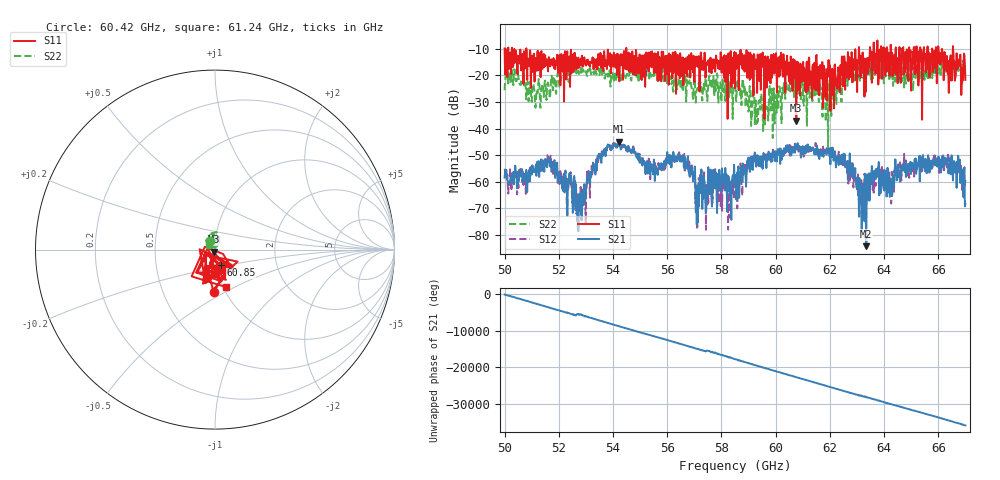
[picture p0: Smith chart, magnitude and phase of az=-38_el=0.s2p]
!Created with skrf (http://scikit-rf.org).
# GHz S RI R 50.0
!freq ReS11 ImS11 ReS21 ImS21 ReS12 ImS12 ReS22 ImS22
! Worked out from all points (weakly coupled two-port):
!   1001 points, 50 GHz to 67 GHz, reference 50 ohm
!   highest |S21| = -44.90 dB at 54.23 GHz (marker M1); lowest = -84.2 dB at 63.34 GHz (marker M2)
!   lowest |S11| = -37.1 dB at 60.76 GHz (marker M3), VSWR 1.03, Z = 49.2 - j1.16 ohm
!   |S11| at or under -10 dB: 50.8 GHz to 54.49 GHz (3.685 GHz wide, 7 % of centre); 54.49 GHz to 63.07 GHz (8.582 GHz wide, 14.6 % of centre); 66.01 GHz to 66.54 GHz (531.8 MHz wide, 0.803 % of centre) (the widest 3 of 28)
!   |S22| runs from -48.5 to -14.1 dB; largest |S21 - S12| = 0.0032
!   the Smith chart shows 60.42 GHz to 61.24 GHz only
!   S11 on the Smith chart (normalised r, x): 60.42 GHz: 0.88, -0.44; 60.85 GHz: 1.05, -0.18; 61.24 GHz: 1.03, -0.45
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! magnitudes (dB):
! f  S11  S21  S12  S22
! 50 GHz  -9.9  -58.4  -55.1  -25.6
! 51.58 GHz  -14.2  -51.6  -50.0  -22.9
! 52.84 GHz  -13.5  -74.4  -71.7  -19.7
! 53.45 GHz  -12.0  -51.3  -53.2  -17.1
! 54.23 GHz  -22.2  -44.9  -45.5  -20.7
! 55.68 GHz  -13.6  -54.6  -52.9  -22.1
! 56.51 GHz  -20.4  -51.8  -51.8  -22.7
! 57.12 GHz  -14.0  -75.5  -65.0  -25.2
! 58.5 GHz  -24.8  -57.4  -61.9  -23.8
! 59.61 GHz  -13.1  -51.2  -50.8  -38.5
! 60.42 GHz  -12.6  -46.9  -48.6  -25.5
! 60.76 GHz  -37.1  -46.8  -46.4  -28.8
! 60.85 GHz  -20.7  -47.5  -48.6  -21.7
! 61.24 GHz  -13.3  -48.1  -48.6  -27.3
! 61.34 GHz  -28.7  -47.3  -47.3  -26.5
! 62.53 GHz  -12.8  -51.0  -51.1  -18.7
! 63.34 GHz  -13.7  -84.2  -68.6  -17.4
! 63.58 GHz  -18.1  -60.7  -63.0  -21.1
! 64.18 GHz  -19.3  -56.7  -60.0  -18.8
! 66.27 GHz  -13.5  -52.5  -52.4  -16.8
! 66.81 GHz  -12.2  -60.4  -56.3  -15.5
! 67 GHz  -21.7  -68.3  -59.2  -16.1
